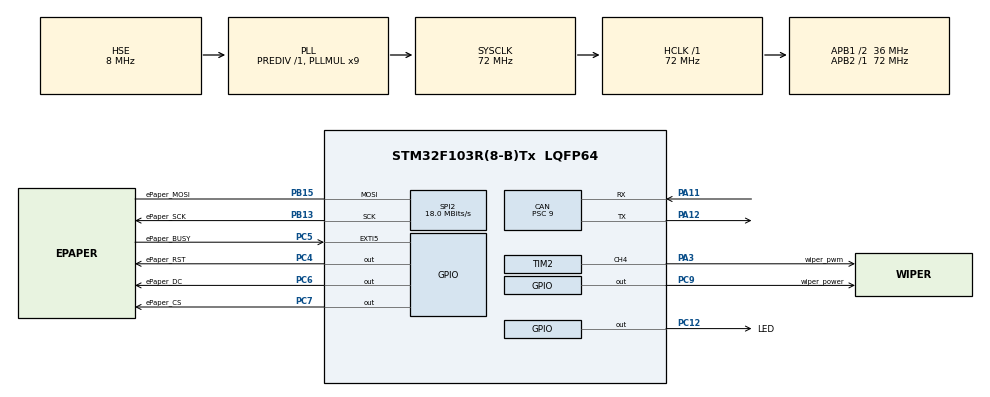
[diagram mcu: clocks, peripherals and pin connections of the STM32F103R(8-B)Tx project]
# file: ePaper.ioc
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CAN.BS1=CAN_BS1_13TQ
CAN.BS2=CAN_BS2_2TQ
CAN.CalculateTimeBit=4000.00
CAN.CalculateTimeQuantum=250.0
CAN.Mode=CAN_MODE_NORMAL
CAN.Prescaler=9
CAN.SJW=CAN_SJW_4TQ
Mcu.Family=STM32F1
Mcu.Name=STM32F103R(8-B)Tx
Mcu.Package=LQFP64
NVIC.CAN1_RX1_IRQn=true\:0\:0\:false\:false\:true\:true\:true
NVIC.PriorityGroup=NVIC_PRIORITYGROUP_4
NVIC.TIM2_IRQn=true\:0\:0\:false\:false\:true\:true\:true
NVIC.TIM4_IRQn=true\:0\:0\:false\:false\:true\:true\:true
NVIC.USB_LP_CAN1_RX0_IRQn=true\:0\:0\:false\:false\:true\:true\:true
PA11.Mode=Master
PA11.Signal=CAN_RX
PA12.Mode=Master
PA12.Signal=CAN_TX
PA13.Mode=Trace_Asynchronous_SW
PA13.Signal=SYS_JTMS-SWDIO
PA14.Mode=Trace_Asynchronous_SW
PA14.Signal=SYS_JTCK-SWCLK
PA15.Signal=SYS_JTDI
PA3.GPIO_Label=wiper_pwm
PA3.Signal=S_TIM2_CH4
PB13.GPIO_Label=ePaper_SCK
PB13.Mode=Simplex_Bidirectional_Master
PB13.Signal=SPI2_SCK
PB15.GPIO_Label=ePaper_MOSI
PB15.Mode=Simplex_Bidirectional_Master
PB15.Signal=SPI2_MOSI
PB3.Mode=Trace_Asynchronous_SW
PB3.Signal=SYS_JTDO-TRACESWO
PC12.GPIO_Label=LED
PC12.Signal=GPIO_Output
PC4.GPIO_Label=ePaper_RST
PC4.Signal=GPIO_Output
PC5.GPIO_Label=ePaper_BUSY
PC5.Signal=GPXTI5
PC6.GPIO_Label=ePaper_DC
PC6.Signal=GPIO_Output
PC7.GPIO_Label=ePaper_CS
PC7.Signal=GPIO_Output
PC9.GPIO_Label=wiper_power
PC9.Signal=GPIO_Output
PD0-OSC_IN.Mode=HSE-External-Oscillator
PD0-OSC_IN.Signal=RCC_OSC_IN
PD1-OSC_OUT.Mode=HSE-External-Oscillator
PD1-OSC_OUT.Signal=RCC_OSC_OUT
ProjectManager.HeapSize=0x400
ProjectManager.StackSize=0x400
ProjectManager.TargetToolchain=STM32CubeIDE
RCC.AHBFreq_Value=72000000
RCC.APB1CLKDivider=RCC_HCLK_DIV2
RCC.APB1Freq_Value=36000000
RCC.APB1TimFreq_Value=72000000
RCC.APB2Freq_Value=72000000
RCC.APB2TimFreq_Value=72000000
RCC.HCLKFreq_Value=72000000
RCC.PLLMUL=RCC_PLL_MUL9
RCC.PLLSourceVirtual=RCC_PLLSOURCE_HSE
RCC.SYSCLKFreq_VALUE=72000000
RCC.SYSCLKSource=RCC_SYSCLKSOURCE_PLLCLK
RCC.USBFreq_Value=72000000
RCC.VDD_VALUE=3.3
SH.S_TIM2_CH4.0=TIM2_CH4,PWM Generation4 CH4
SPI2.CalculateBaudRate=18.0 MBits/s
SPI2.Direction=SPI_DIRECTION_1LINE
SPI2.Mode=SPI_MODE_MASTER
SPI2.VirtualType=VM_MASTER
TIM2.Channel-PWM\ Generation4\ CH4=TIM_CHANNEL_4
TIM2.Period=1000
TIM2.Prescaler=1440-1
TIM4.Period=10000
TIM4.Prescaler=7200-1
VP_TIM4_VS_ClockSourceINT.Mode=Internal
board=custom

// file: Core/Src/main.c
/* USER CODE BEGIN Header */
/**
  ******************************************************************************
  * @file           : main.c
  * @brief          : Main program body
  ******************************************************************************
  * @attention
  *
  * <h2><center>&copy; Copyright (c) 2020 STMicroelectronics.
  * All rights reserved.</center></h2>
  *
  * This software component is licensed by ST under BSD 3-Clause license,
  * the "License"; You may not use this file except in compliance with the
  * License. You may obtain a copy of the License at:
  *                        opensource.org/licenses/BSD-3-Clause
  *
  ******************************************************************************
  */
/* USER CODE END Header */
#include "main.h"
#include "can.h"
#include "spi.h"
#include "tim.h"
#include "gpio.h"

/* USER CODE BEGIN Includes */
//#include "epd2in7.h"
//#include "epdif.h"
//#include "epdpaint.h"
//#include "imagedata.h"

#include "wiper.h"
#include <stdlib.h>
#include <stdio.h>

#include "../../User/Inc/EPD_Test.h"
/* USER CODE END Includes */

/* USER CODE BEGIN PV */
#define COLORED      0
#define UNCOLORED    1
/* USER CODE END PV */

void SystemClock_Config(void);

int main(void)
{
  /* USER CODE BEGIN 1 */
	  /* you have to edit the startup_stm32fxxx.s file and set a big enough heap size */
	//  unsigned char* frame_buffer = (unsigned char*)malloc(EPD_WIDTH * EPD_HEIGHT / 8);
  /* USER CODE END 1 */

  /* MCU Configuration--------------------------------------------------------*/

  /* Reset of all peripherals, Initializes the Flash interface and the Systick. */
  HAL_Init();

  /* Configure the system clock */
  SystemClock_Config();

  /* USER CODE BEGIN SysInit */
  SystemCoreClockUpdate();
  /* USER CODE END SysInit */

  /* Initialize all configured peripherals */
  MX_GPIO_Init();
  MX_SPI2_Init();
  MX_TIM2_Init();
  MX_CAN_Init();
  MX_TIM4_Init();
  /* USER CODE BEGIN 2 */
 // EPD epd;
 // if (EPD_Init(&epd) != 0) {
 //   printf("e-Paper init failed\n");
 //   return -1;
//  }

//  Paint paint;
//  Paint_Init(&paint, frame_buffer, epd.width, epd.height);
//  Paint_Clear(&paint, COLORED);
 // Paint_DrawRectangle(&paint, epd.width, epd.height, 0,0 , 0xFF);

  /* Draw something to the frame buffer */
  /* For simplicity, the arguments are explicit numerical coordinates */
 // Paint_SetRotate(&paint, ROTATE_270);
 // Paint_DrawStringAt(&paint, 18, 18, "0025", &Font72, UNCOLORED);

  /* Display the frame_buffer */
//  EPD_DisplayFrame(&epd, frame_buffer);
//  HAL_Delay(2000);
  /* Display the image buffer */
  //EPD_DisplayFrame(&epd, IMAGE_DATA);
  //int x = 0;
  //char Message[5];

  /* USER CODE END 2 */

  /* Infinite loop */
  /* USER CODE BEGIN WHILE */
  //int CH4_DC = 10;

  extern  wiper_init_t g_wiper_object;

  g_wiper_object.wiper_channel=TIM_CHANNEL_4;
  g_wiper_object.wiper_pin = wiper_power_Pin;
  g_wiper_object.wiper_port=wiper_power_GPIO_Port;
  g_wiper_object.wiper_timer_handler=&htim2;

  //wiper_power_set(power_on);
  HAL_GPIO_WritePin(wiper_power_GPIO_Port,wiper_power_Pin, GPIO_PIN_SET);
  HAL_TIM_PWM_Start(&htim2, TIM_CHANNEL_4);

  //CAN
  CAN_TxHeaderTypeDef can_header;
  can_header.DLC=4;
  can_header.StdId=0x100;
  can_header.ExtId=0x100;
  can_header.IDE=CAN_ID_EXT;
  can_header.RTR=CAN_RTR_DATA;
  can_header.TransmitGlobalTime=DISABLE;

  //CAN_RxHeaderTypeDef   RxHeader;
  uint8_t               TxData[8] ={1,2,3,4,5,6,7,8};
 // uint8_t               RxData[8];
  uint32_t              Mailbox = 0;

 // char data[8] = "HELLO  ";

  HAL_CAN_Start(&hcan);

  while (1)
  {

    /* USER CODE END WHILE */

    /* USER CODE BEGIN 3 */

	  /*Accueil de l'ecran*/

	// sprintf(Message,"%d",x++);
	//Paint_Clear(&paint, COLORED);
	 // my_EPD_DisplayFrame(&epd, 18, 18, frame_buffer, 0);
	HAL_Delay(50);

	//Paint_Clear(&paint, UNCOLORED);
	//Paint_DrawFilledCircle(&paint, 18 + (176-18-18)/2, 120, 40, COLORED);
	//my_EPD_DisplayFrame(&epd, frame_buffer, 1);

	//Paint_DrawStringAt(&paint, 50, 50, Message, &Font72, UNCOLORED);
	//Paint_DrawFilledRectangle(&paint, 18, 60, 176-18, 180, UNCOLORED);
	//EPD_DisplayFrame(&epd, frame_buffer);

	  if(HAL_CAN_AddTxMessage(&hcan, &can_header, TxData, &Mailbox) != HAL_OK){
		  Error_Handler();
	      HAL_GPIO_TogglePin(LED_GPIO_Port, LED_Pin);
	  }

	  while(HAL_CAN_IsTxMessagePending(&hcan, Mailbox));

	  HAL_Delay(1000);

	 /* while(CH4_DC < 100)
	  {
	  	TIM2->CCR4 = CH4_DC;
	  	CH4_DC += 1;
	  	HAL_Delay(10);
	  }
	  while(CH4_DC > 50)
	  {
	  	TIM2->CCR4 = CH4_DC;
	  	CH4_DC -= 1;
	  	HAL_Delay(10);
	  }
	 //wiper_pwm_start(max_speed, g_wiper_object );

*/

  }
  /* USER CODE END 3 */
}

void SystemClock_Config(void)
{
  RCC_OscInitTypeDef RCC_OscInitStruct = {0};
  RCC_ClkInitTypeDef RCC_ClkInitStruct = {0};

  /** Initializes the RCC Oscillators according to the specified parameters
  * in the RCC_OscInitTypeDef structure.
  */
  RCC_OscInitStruct.OscillatorType = RCC_OSCILLATORTYPE_HSE;
  RCC_OscInitStruct.HSEState = RCC_HSE_ON;
  RCC_OscInitStruct.HSEPredivValue = RCC_HSE_PREDIV_DIV1;
  RCC_OscInitStruct.HSIState = RCC_HSI_ON;
  RCC_OscInitStruct.PLL.PLLState = RCC_PLL_ON;
  RCC_OscInitStruct.PLL.PLLSource = RCC_PLLSOURCE_HSE;
  RCC_OscInitStruct.PLL.PLLMUL = RCC_PLL_MUL9;
  if (HAL_RCC_OscConfig(&RCC_OscInitStruct) != HAL_OK)
  {
    Error_Handler();
  }
  /** Initializes the CPU, AHB and APB buses clocks
  */
  RCC_ClkInitStruct.ClockType = RCC_CLOCKTYPE_HCLK|RCC_CLOCKTYPE_SYSCLK
                              |RCC_CLOCKTYPE_PCLK1|RCC_CLOCKTYPE_PCLK2;
  RCC_ClkInitStruct.SYSCLKSource = RCC_SYSCLKSOURCE_PLLCLK;
  RCC_ClkInitStruct.AHBCLKDivider = RCC_SYSCLK_DIV1;
  RCC_ClkInitStruct.APB1CLKDivider = RCC_HCLK_DIV2;
  RCC_ClkInitStruct.APB2CLKDivider = RCC_HCLK_DIV1;

  if (HAL_RCC_ClockConfig(&RCC_ClkInitStruct, FLASH_LATENCY_2) != HAL_OK)
  {
    Error_Handler();
  }
}

void Error_Handler(void)
{
}

/************************ (C) COPYRIGHT STMicroelectronics *****END OF FILE****/
